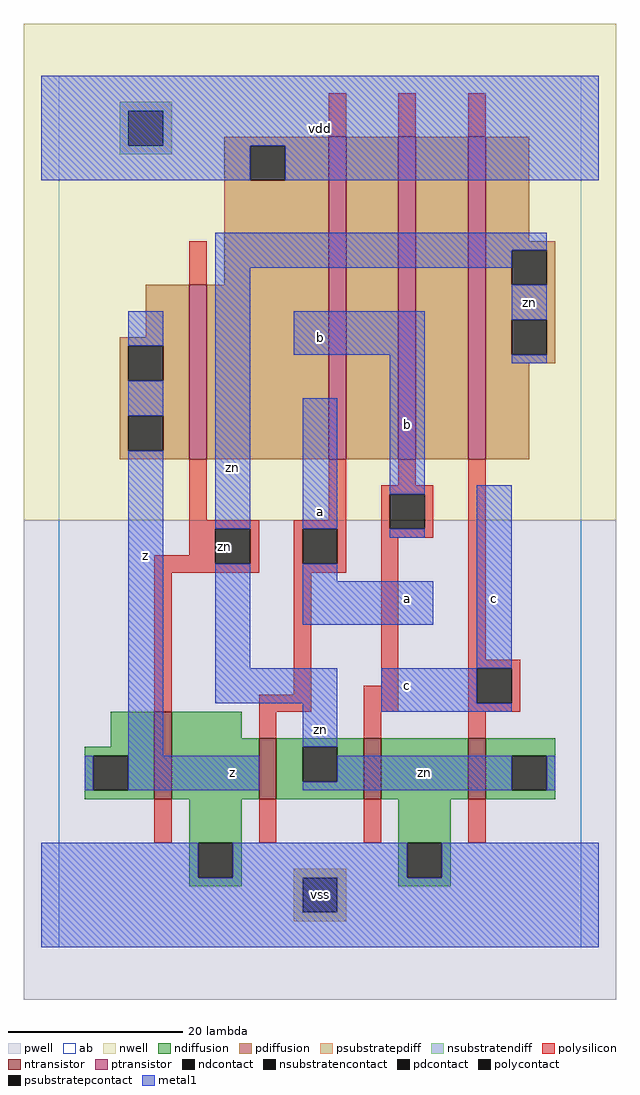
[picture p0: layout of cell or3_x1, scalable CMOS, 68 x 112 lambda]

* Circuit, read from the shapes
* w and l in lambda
.subckt or3_x1 a b c vdd vss z zn
M1 vss zn z vss nfet w=10 l=2
M2 zn a vss vss nfet w=7 l=2
M3 vss b zn vss nfet w=7 l=2
M4 zn c vss vss nfet w=7 l=2
M5 vdd zn z vdd pfet w=20 l=2
M6 n1 a vdd vdd pfet w=37 l=2
M7 n2 b n1 vdd pfet w=37 l=2
M8 zn c n2 vdd pfet w=37 l=2
.ends

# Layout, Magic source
magic
tech scmos
<< ab >>
rect 0 0 60 100
<< pwell >>
rect -4 -6 64 49
<< nwell >>
rect -4 49 64 106
<< polysilicon >>
rect 31 93 33 98
rect 39 93 41 98
rect 47 93 49 98
rect 15 76 17 81
rect 15 49 17 56
rect 31 49 33 56
rect 39 53 41 56
rect 15 48 23 49
rect 15 45 18 48
rect 11 44 18 45
rect 22 44 23 48
rect 11 43 23 44
rect 27 48 33 49
rect 27 44 28 48
rect 32 44 33 48
rect 27 43 33 44
rect 37 52 43 53
rect 37 48 38 52
rect 42 48 43 52
rect 37 47 43 48
rect 11 27 13 43
rect 27 29 29 43
rect 37 30 39 47
rect 23 27 29 29
rect 35 27 39 30
rect 47 33 49 56
rect 47 32 53 33
rect 47 28 48 32
rect 52 28 53 32
rect 47 27 53 28
rect 23 24 25 27
rect 35 24 37 27
rect 47 24 49 27
rect 11 12 13 17
rect 23 12 25 17
rect 35 12 37 17
rect 47 12 49 17
<< ndiffusion >>
rect 6 23 11 27
rect 3 22 11 23
rect 3 18 4 22
rect 8 18 11 22
rect 3 17 11 18
rect 13 24 21 27
rect 13 17 23 24
rect 25 23 35 24
rect 25 19 28 23
rect 32 19 35 23
rect 25 17 35 19
rect 37 17 47 24
rect 49 22 57 24
rect 49 18 52 22
rect 56 18 57 22
rect 49 17 57 18
rect 15 12 21 17
rect 39 12 45 17
rect 15 8 16 12
rect 20 8 21 12
rect 15 7 21 8
rect 39 8 40 12
rect 44 8 45 12
rect 39 7 45 8
<< pdiffusion >>
rect 19 92 31 93
rect 19 88 22 92
rect 26 88 31 92
rect 19 76 31 88
rect 10 70 15 76
rect 7 69 15 70
rect 7 65 8 69
rect 12 65 15 69
rect 7 61 15 65
rect 7 57 8 61
rect 12 57 15 61
rect 7 56 15 57
rect 17 56 31 76
rect 33 56 39 93
rect 41 56 47 93
rect 49 81 54 93
rect 49 80 57 81
rect 49 76 52 80
rect 56 76 57 80
rect 49 72 57 76
rect 49 68 52 72
rect 56 68 57 72
rect 49 67 57 68
rect 49 56 54 67
<< metal1 >>
rect -2 92 62 100
rect -2 88 22 92
rect 26 88 62 92
rect 18 80 56 82
rect 18 78 52 80
rect 8 69 12 73
rect 8 61 12 65
rect 8 22 12 57
rect 18 48 22 78
rect 27 68 42 73
rect 18 32 22 44
rect 28 48 32 63
rect 38 52 42 68
rect 52 72 56 76
rect 52 67 56 68
rect 38 47 42 48
rect 28 42 32 44
rect 28 37 43 42
rect 48 32 52 53
rect 18 28 32 32
rect 28 23 32 28
rect 37 28 48 32
rect 37 27 52 28
rect 3 18 4 22
rect 8 18 23 22
rect 32 19 52 22
rect 28 18 52 19
rect 56 18 57 22
rect -2 8 16 12
rect 20 8 40 12
rect 44 8 62 12
rect -2 0 62 8
<< ntransistor >>
rect 11 17 13 27
rect 23 17 25 24
rect 35 17 37 24
rect 47 17 49 24
<< ptransistor >>
rect 15 56 17 76
rect 31 56 33 93
rect 39 56 41 93
rect 47 56 49 93
<< polycontact >>
rect 18 44 22 48
rect 28 44 32 48
rect 38 48 42 52
rect 48 28 52 32
<< ndcontact >>
rect 4 18 8 22
rect 28 19 32 23
rect 52 18 56 22
rect 16 8 20 12
rect 40 8 44 12
<< pdcontact >>
rect 22 88 26 92
rect 8 65 12 69
rect 8 57 12 61
rect 52 76 56 80
rect 52 68 56 72
<< psubstratepcontact >>
rect 28 4 32 8
<< nsubstratencontact >>
rect 8 92 12 96
<< psubstratepdiff >>
rect 27 8 33 9
rect 27 4 28 8
rect 32 4 33 8
rect 27 3 33 4
<< nsubstratendiff >>
rect 7 96 13 97
rect 7 92 8 96
rect 12 92 13 96
rect 7 91 13 92
<< labels >>
rlabel polycontact 19 46 19 46 6 zn
rlabel metal1 10 45 10 45 6 z
rlabel metal1 10 45 10 45 6 z
rlabel metal1 20 20 20 20 6 z
rlabel metal1 20 20 20 20 6 z
rlabel metal1 20 55 20 55 6 zn
rlabel metal1 30 6 30 6 6 vss
rlabel metal1 30 6 30 6 6 vss
rlabel metal1 30 25 30 25 6 zn
rlabel metal1 40 40 40 40 6 a
rlabel metal1 40 30 40 30 6 c
rlabel metal1 40 40 40 40 6 a
rlabel metal1 40 30 40 30 6 c
rlabel metal1 30 50 30 50 6 a
rlabel metal1 30 50 30 50 6 a
rlabel metal1 30 70 30 70 6 b
rlabel metal1 30 70 30 70 6 b
rlabel metal1 40 60 40 60 6 b
rlabel metal1 40 60 40 60 6 b
rlabel metal1 30 94 30 94 6 vdd
rlabel metal1 30 94 30 94 6 vdd
rlabel metal1 42 20 42 20 6 zn
rlabel metal1 50 40 50 40 6 c
rlabel metal1 50 40 50 40 6 c
rlabel metal1 54 74 54 74 6 zn
<< end >>
